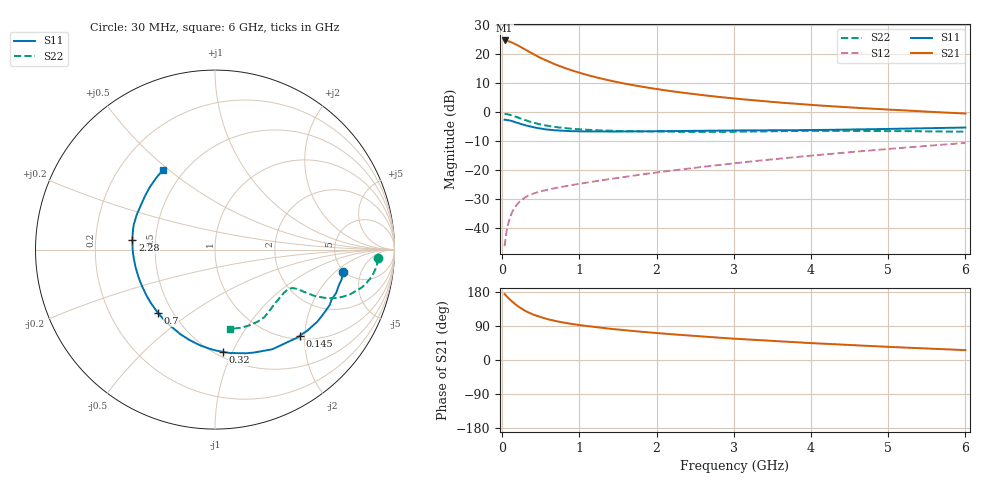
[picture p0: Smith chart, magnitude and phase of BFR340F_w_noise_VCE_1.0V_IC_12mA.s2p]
! Infineon Technologies  Discrete & RF Semiconductors
! BFR340F
! VCE =  1.0 V,  IC =  12 mA
! Common Emitter S-Parameters:  Nov 2015
# GHz  S  MA  R  50
!  f  S11  S21  S12  S22
! GHz  MAG  ANG  MAG  ANG  MAG  ANG  MAG  ANG
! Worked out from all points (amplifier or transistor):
!   206 points, 30 MHz to 6 GHz, reference 50 ohm
!   highest |S21| = 24.5 dB at 30 MHz (marker M1)
!   |S21| within 3 dB of that: start of sweep to 287.8 MHz
!   unconditionally stable (mu >= 1): 875.9 MHz to end of sweep
!   at 200 MHz: K = 0.36, MSG = 27.3 dB, |S12| = -31.7 dB
!   at 1.56 GHz: K = 1.28, MAG = 13.0 dB, |S12| = -22.6 dB
!   at 6 GHz: K = 1.05, MAG = 3.7 dB, |S12| = -10.8 dB
!   lowest NFmin = 1.62 dB at 450 MHz
!   S11 on the Smith chart (normalised r, x): 30 MHz: 4.87, -2.55; 145 MHz: 1.08, -1.89; 320 MHz: 0.54, -0.92; 700 MHz: 0.42, -0.38; 2.28 GHz: 0.37, +0.05; 6 GHz: 0.39, +0.48
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0.03  0.724 -9.9  16.82 174.1  0.0048 81.4  0.9119 -3.1
0.05  0.7174 -16.6  16.59 169.2  0.0078 80.3  0.9059 -5.5
0.07  0.7069 -23.0  16.47 165.1  0.0108 77.6  0.8975 -7.7
0.105  0.6985 -33.7  15.85 158.4  0.0155 73.5  0.8749 -11.1
0.145  0.6738 -45.4  15.09 151.0  0.0204 68.9  0.842 -14.6
0.2  0.6405 -60.1  13.86 142.1  0.026 63.8  0.7927 -18.3
0.26  0.6023 -73.6  12.51 134.1  0.0308 59.4  0.7414 -21.1
0.32  0.5713 -85.5  11.25 127.4  0.0346 56.3  0.6955 -22.9
0.4  0.5399 -98.9  9.808 119.9  0.0385 53.6  0.645 -24.3
0.5  0.5088 -112.4  8.372 112.8  0.0423 52.1  0.5978 -25.1
0.6  0.4887 -123.3  7.257 107.0  0.0455 51.7  0.5641 -25.3
0.7  0.4752 -132.1  6.382 102.4  0.0485 52.1  0.5391 -25.4
0.88  0.4609 -144.3  5.235 95.8  0.0535 53.6  0.5093 -25.7
1.04  0.4549 -152.8  4.502 91.1  0.0582 55.5  0.4917 -26.0
1.2  0.453 -159.7  3.939 86.9  0.063 57.3  0.4788 -26.7
1.5  0.4534 -169.6  3.199 80.2  0.0723 60.6  0.464 -28.6
2.02  0.4596 178.5  2.425 70.8  0.09 65.1  0.4523 -33.1
2.28  0.463 173.5  2.167 66.7  0.0995 66.8  0.4497 -35.7
3.1  0.4738 161.3  1.636 55.2  0.1327 70.3  0.4516 -45.0
4.1  0.4827 147.9  1.277 43.7  0.1793 71.7  0.466 -55.1
5.1  0.5051 134.9  1.065 33.8  0.2327 71.0  0.4621 -67.0
6  0.5316 123.0  0.926 26.1  0.2885 68.4  0.4497 -79.1
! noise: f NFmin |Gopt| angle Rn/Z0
0.45  1.62  0.17  -3  0.26
0.9  1.82  0.15  6  0.31
1.9  2.52  0.09  -101  0.34
2.4  2.96  0.14  -129  0.33
